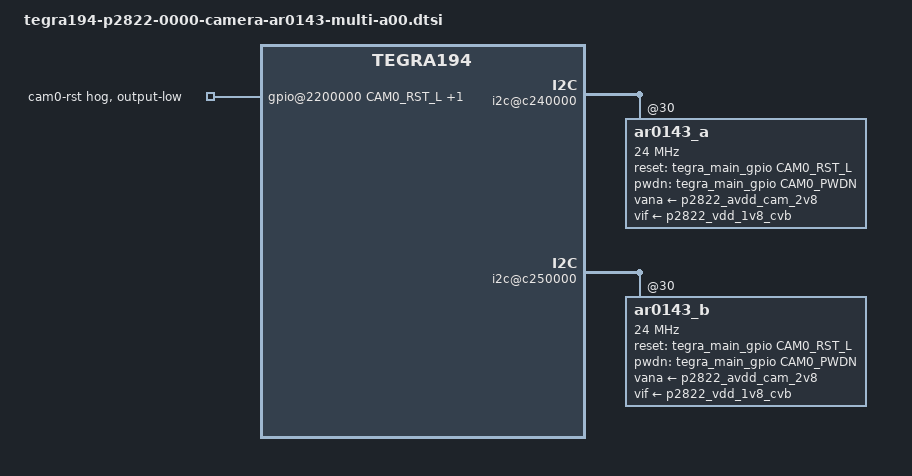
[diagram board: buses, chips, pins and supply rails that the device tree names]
/*
 * Copyright (c) 2015-2018, NVIDIA CORPORATION.  All rights reserved.
 *
 * This program is free software; you can redistribute it and/or modify
 * it under the terms of the GNU General Public License as published by
 * the Free Software Foundation; either version 2 of the License, or
 * (at your option) any later version.
 *
 * This program is distributed in the hope that it will be useful, but WITHOUT
 * ANY WARRANTY; without even the implied warranty of MERCHANTABILITY or
 * FITNESS FOR A PARTICULAR PURPOSE.  See the GNU General Public License for
 * more details.
 *
 * You should have received a copy of the GNU General Public License
 * along with this program.  If not, see <http://www.gnu.org/licenses/>.
 */
#include <t19x-common-modules/tegra194-camera-ar0143-Multi-a00.dtsi>
#include "dt-bindings/clock/tegra194-clock.h"

#define CAM0_RST_L	TEGRA194_MAIN_GPIO(H, 3)
#define CAM0_PWDN	TEGRA194_MAIN_GPIO(H, 6)

/* camera control gpio definitions */

/ {
/*FPD-Link3 channel_0: xavier's i2c0 address:0xc240000*/
	i2c@c240000 {
		ar0143_a@30 {
			/* Define any required hw resources needed by driver */
			/* ie. clocks, io pins, power sources */
			/* mclk-index indicates the index of the */
			/* mclk-name with in the clock-names array */

			clocks = <&bpmp_clks TEGRA194_CLK_EXTPERIPH1>,
					 <&bpmp_clks TEGRA194_CLK_PLLP_OUT0>;
			clock-names = "extperiph1", "pllp_grtba";
			mclk = "extperiph1";
			clock-frequency = <24000000>;
			reset-gpios = <&tegra_main_gpio CAM0_RST_L GPIO_ACTIVE_HIGH>;
			pwdn-gpios = <&tegra_main_gpio CAM0_PWDN GPIO_ACTIVE_HIGH>;
			vana-supply = <&p2822_avdd_cam_2v8>;
			vif-supply = <&p2822_vdd_1v8_cvb>;
		};
	};

/*FPD-Link3 channel_1: xavier's i2c1 address:0xc250000*/
	i2c@c250000 {
		ar0143_b@30 {
			/* Define any required hw resources needed by driver */
			/* ie. clocks, io pins, power sources */
			/* mclk-index indicates the index of the */
			/* mclk-name with in the clock-names array */

			clocks = <&bpmp_clks TEGRA194_CLK_EXTPERIPH1>,
					 <&bpmp_clks TEGRA194_CLK_PLLP_OUT0>;
			clock-names = "extperiph1", "pllp_grtba";
			mclk = "extperiph1";
			clock-frequency = <24000000>;
			reset-gpios = <&tegra_main_gpio CAM0_RST_L GPIO_ACTIVE_HIGH>;
			pwdn-gpios = <&tegra_main_gpio CAM0_PWDN GPIO_ACTIVE_HIGH>;
			vana-supply = <&p2822_avdd_cam_2v8>;
			vif-supply = <&p2822_vdd_1v8_cvb>;
		};
	};

	gpio@2200000 {
		camera-control-output-low {
			gpio-hog;
			output-low;
			gpios = <CAM0_RST_L 0 CAM0_PWDN 0>;
			label = "cam0-rst", "cam0-pwdn";
		};
	};
};
